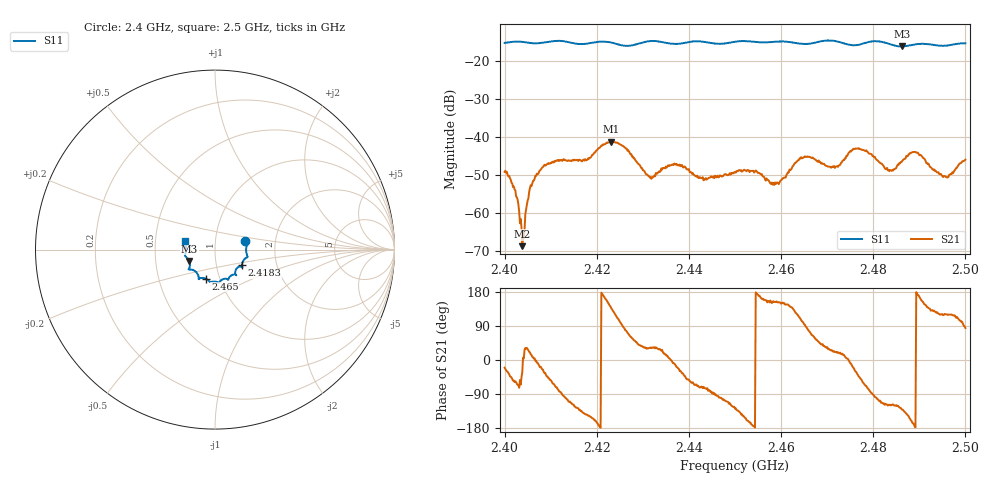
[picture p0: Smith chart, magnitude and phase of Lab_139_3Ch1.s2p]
# Hz S RI R 50
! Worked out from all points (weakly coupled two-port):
!   601 points, 2.4 GHz to 2.5 GHz, reference 50 ohm
!   highest |S21| = -41.17 dB at 2.4232 GHz (marker M1); lowest = -68.7 dB at 2.4038 GHz (marker M2)
!   lowest |S11| = -16.1 dB at 2.4862 GHz (marker M3), VSWR 1.37, Z = 37.2 - j4.83 ohm
!   |S11| at or under -10 dB: start of sweep to end of sweep
!   S12 and S22 are empty: the file has one direction only
!   S11 on the Smith chart (normalised r, x): 2.4 GHz: 1.40, +0.14; 2.4183 GHz: 1.33, -0.24; 2.465 GHz: 0.86, -0.28; 2.5 GHz: 0.71, +0.07
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2.4e9  0.1689 0.0473  0.0033 -0.00121  0 0  0 0
2.4025e9  0.1786 0.0353  0.000863 -0.00142  0 0  0 0
2.403833e9  0.1786 0.0286  0.000312 -0.000196  0 0  0 0
2.405833e9  0.1737 0.0106  0.00221 0.000524  0 0  0 0
2.408167e9  0.1748 -0.0176  0.00363 -0.00169  0 0  0 0
2.416667e9  0.1547 -0.0681  -0.0034 -0.0035  0 0  0 0
2.418333e9  0.1501 -0.0868  -0.0044 -0.00283  0 0  0 0
2.423167e9  0.1486 -0.0965  -0.00632 0.00604  0 0  0 0
2.431333e9  0.1175 -0.1423  0.00263 0.00162  0 0  0 0
2.433333e9  0.1173 -0.1408  0.00303 0.00168  0 0  0 0
2.436833e9  0.0923 -0.1428  0.00444 -0.000788  0 0  0 0
2.45e9  0.026 -0.18  -0.00216 -0.00272  0 0  0 0
2.459e9  -0.023 -0.1806  -0.00227 0.00108  0 0  0 0
2.465e9  -0.0525 -0.1615  -0.000392 0.00551  0 0  0 0
2.466667e9  -0.0711 -0.1577  0.00219 0.00485  0 0  0 0
2.471833e9  -0.0906 -0.1615  0.00385 0.00148  0 0  0 0
2.476833e9  -0.1196 -0.1146  0.00525 -0.00494  0 0  0 0
2.483333e9  -0.1411 -0.0966  -0.00176 -0.00328  0 0  0 0
2.486167e9  -0.1438 -0.0634  -0.00307 -0.00363  0 0  0 0
2.489333e9  -0.1638 -0.0395  -0.00629 0.000114  0 0  0 0
2.495667e9  -0.1607 0.0119  -0.00156 0.00263  0 0  0 0
2.5e9  -0.1667 0.047  0.000497 0.00505  0 0  0 0
